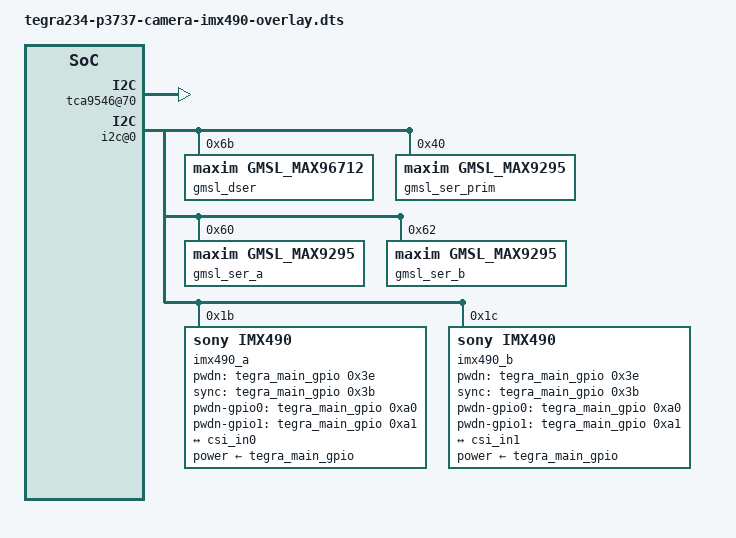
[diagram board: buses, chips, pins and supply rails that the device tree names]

/dts-v1/;
/plugin/;

/ {
	overlay-name = "Sensing Camera IMX490";
	jetson-header-name = "Jetson AGX CSI Connector";
	compatible = "nvidia,p3737-0000+p3701-0000", "nvidia,p3737-0000+p3701-0004", "nvidia,p3737-0000+p3701-0005";

	/* Enable VI ports */
	fragment@0 {
		target-path = "/tegra-capture-vi";
		__overlay__ {
			num-channels=<2>;
		};
	};
	fragment@1 {
		target-path = "/tegra-capture-vi/ports/port@0";
		__overlay__ {
			status = "okay";
		};
	};
	fragment@2 {
		target-path = "/tegra-capture-vi/ports/port@1";
		__overlay__ {
			status = "okay";
		};
	};
	fragment@3 {
		target-path = "/tegra-capture-vi/ports/port@0/endpoint";
		__overlay__ {
			status = "okay";
			vc-id = <0>;
			port-index = <0>;
			bus-width = <4>;
		};
	};
	fragment@4 {
		target-path = "/tegra-capture-vi/ports/port@1/endpoint";
		__overlay__ {
			status = "okay";
			vc-id = <1>;
			port-index = <0>;
			bus-width = <4>;
		};
	};

	/* Enable CSI ports */
	fragment@5 {
		target-path = "/host1x@13e00000/nvcsi@15a00000/channel@0";
		__overlay__ {
			status = "okay";
		};
	};
	fragment@6 {
		target-path = "/host1x@13e00000/nvcsi@15a00000/channel@0/ports/port@0";
		__overlay__ {
			status = "okay";
		};
	};
	fragment@7 {
		target-path = "/host1x@13e00000/nvcsi@15a00000/channel@0/ports/port@0/endpoint@0";
		__overlay__ {
			status = "okay";
			port-index = <0>;
			bus-width = <4>;
			remote-endpoint = <&imx490_out0>;
		};
	};
	fragment@8 {
		target-path = "/host1x@13e00000/nvcsi@15a00000/channel@0/ports/port@1";
		__overlay__ {
			status = "okay";
		};
	};
	fragment@9 {
		target-path = "/host1x@13e00000/nvcsi@15a00000/channel@0/ports/port@1/endpoint@1";
		__overlay__ {
			status = "okay";
			remote-endpoint = <&vi_in0>;
		};
	};
	fragment@10 {
		target-path = "/host1x@13e00000/nvcsi@15a00000/channel@1";
		__overlay__ {
			status = "okay";
		};
	};
	fragment@11 {
		target-path = "/host1x@13e00000/nvcsi@15a00000/channel@1/ports/port@0";
		__overlay__ {
			status = "okay";
		};
	};
	fragment@12 {
		target-path = "/host1x@13e00000/nvcsi@15a00000/channel@1/ports/port@0/endpoint@2";
		__overlay__ {
			status = "okay";
			port-index = <0>;
			bus-width = <4>;
			remote-endpoint = <&imx490_out1>;
		};
	};
	fragment@13 {
		target-path = "/host1x@13e00000/nvcsi@15a00000/channel@1/ports/port@1";
		__overlay__ {
			status = "okay";
		};
	};
	fragment@14 {
		target-path = "/host1x@13e00000/nvcsi@15a00000/channel@1/ports/port@1/endpoint@3";
		__overlay__ {
			status = "okay";
			remote-endpoint = <&vi_in1>;
		};
	};

	/* tegra-camera-platform settings */
	fragment@15 {
		target-path = "/tegra-camera-platform";
		__overlay__ {
			num_csi_lanes = <4>;
			max_lane_speed = <4000000>;
		};
	};
	fragment@16 {
		target-path = "/tegra-camera-platform/modules/module0";
		__overlay__ {
			status = "okay";
			badge = "imx490_rear";
			position = "rear";
			orientation = "1";
		};
	};
	fragment@17 {
		target-path = "/tegra-camera-platform/modules/module0/drivernode0";
		__overlay__ {
			status = "okay";
			pcl_id = "v4l2_sensor";
			devname = "imx490 30-001b";
			proc-device-tree = "/proc/device-tree/i2c@3180000/tca9546@70/i2c@0/imx490_a@1b";
		};
	};
	fragment@18 {
		target-path = "/tegra-camera-platform/modules/module1";
		__overlay__ {
			status = "okay";
			badge = "imx490_front";
			position = "front";
			orientation = "1";
		};
	};
	fragment@19 {
		target-path = "/tegra-camera-platform/modules/module1/drivernode0";
		__overlay__ {
			status = "okay";
			pcl_id = "v4l2_sensor";
			devname = "imx490 30-001c";
			proc-device-tree = "/proc/device-tree/i2c@3180000/tca9546@70/i2c@0/imx490_b@1c";
		};
	};

	/* pca9546 i2c mux */
	fragment@20 {
		target-path = "/i2c@3180000/tca9546@70";
		__overlay__ {
			status = "okay";
			vcc-pullup-supply = <0x2e>;
		};
	};

	fragment@21 {
		target-path = "/i2c@3180000/tca9546@70/i2c@0";
		__overlay__ {
			reg = <0>;
			i2c-mux,deselect-on-exit;
			#address-cells = <1>;
			#size-cells = <0>;

			gmsl_dser: gmsl_max96712@6b {
				compatible = "maxim,gmsl_max96712";
				status = "okay";
				reg = <0x6b>;
				csi-mode = "2x4";
				max-src = <4>;
			};
			gmsl_ser_prim: gmsl_max9295_prim@40 {
				compatible = "maxim,gmsl_max9295";
				status = "okay";
				reg = <0x40>;
				is-prim-ser;
			};
			gmsl_ser_a: gmsl_max9295_a@60 {
				compatible = "maxim,gmsl_max9295";
				status = "okay";
				reg = <0x60>;
				nvidia,gmsl-dser-device = <&gmsl_dser>;
			};
			gmsl_ser_b: gmsl_max9295_b@62 {
				compatible = "maxim,gmsl_max9295";
				status = "okay";
				reg = <0x62>;
				nvidia,gmsl-dser-device = <&gmsl_dser>;
			};

			imx490_a@1b {
				status = "okay";
				def-addr = <0x1a>;
				devnode = "video0";
				/* Define any required hw resources needed by driver */
				/* ie. clocks, io pins, power sources */
				clocks = <&bpmp 36U>,
						<&bpmp 36U>;
				clock-names = "extperiph1", "pllp_grtba";
				mclk = "extperiph1";
				nvidia,gmsl-ser-device = <&gmsl_ser_a>;
				nvidia,gmsl-dser-device = <&gmsl_dser>;
				power-supply = <&tegra_main_gpio 0xa7 0x00>; /* AC.07 */
				pwdn-gpio = <&tegra_main_gpio 0x3e 0x00>; /* PH.06 */
				sync-gpio = <&tegra_main_gpio 0x3b 0x00>; /* PH.03 */
				pwdn-gpio0 = <&tegra_main_gpio 0xa0 0x00>; /* AC.00 */
				pwdn-gpio1 = <&tegra_main_gpio 0xa1 0x00>; /* AC.01 */

				compatible = "sony,imx490";

				reg = <0x1b>;

				/* Physical dimensions of sensor */
				physical_w = "15.0";
				physical_h = "12.5";
				sensor_model = "imx490";

				/* Defines number of frames to be dropped by driver internally after applying */
				/* sensor crop settings. Some sensors send corrupt frames after applying */
				/* crop co-ordinates */
				post_crop_frame_drop = "0";

				/* Convert Gain to unit of dB (decibel) befor passing to kernel driver */
				use_decibel_gain = "true";

				/* enable CID_SENSOR_MODE_ID for sensor modes selection */
				use_sensor_mode_id = "true";

				mode0 {
					mclk_khz = "24000";
					num_lanes = "4";
					tegra_sinterface = "serial_a";
					vc_id = "0";
					discontinuous_clk = "no";
					dpcm_enable = "false";
					cil_settletime = "0";
					dynamic_pixel_bit_depth = "16";
					csi_pixel_bit_depth = "16";
					mode_type = "yuv";
					pixel_phase = "uyvy";

					active_w = "2880";
					active_h = "1860";
					readout_orientation = "0";
					line_length = "2250";
					inherent_gain = "1";
					pix_clk_hz = "300000000";
					serdes_pix_clk_hz = "375000000";

					gain_factor = "10";
					min_gain_val = "0"; /* dB */
					max_gain_val = "300"; /* dB */
					step_gain_val = "3"; /* 0.3 */
					default_gain = "0";
					min_hdr_ratio = "1";
					max_hdr_ratio = "1";
					framerate_factor = "1000000";
					min_framerate = "30000000";
					max_framerate = "30000000";
					step_framerate = "1";
					default_framerate = "30000000";
					exposure_factor = "1000000";
					min_exp_time = "59"; /*us, 2 lines*/
					max_exp_time = "33333";
					step_exp_time = "1";
					default_exp_time = "33333";/* us */
					embedded_metadata_height = "0";
				};
				ports {
					#address-cells = <1>;
					#size-cells = <0>;
					port@0 {
						reg = <0>;
						imx490_out0: endpoint {
							vc-id = <0>;
							port-index = <0>;
							bus-width = <4>;
							remote-endpoint = <&csi_in0>;
						};
					};
				};
				gmsl-link {
					src-csi-port = "b";
					dst-csi-port = "a";
					serdes-csi-link = "a";
					csi-mode = "1x4";
					st-vc = <0>;
					vc-id = <0>;
					num-lanes = <4>;
					streams = "ued-u1", "yuv8";
				};
			};

			imx490_b@1c {
				status = "okay";
				def-addr = <0x1a>;
				devnode = "video1";
				/* Define any required hw resources needed by driver */
				/* ie. clocks, io pins, power sources */
				clocks = <&bpmp 36U>,
						<&bpmp 36U>;
				clock-names = "extperiph1", "pllp_grtba";
				mclk = "extperiph1";
				nvidia,gmsl-ser-device = <&gmsl_ser_b>;
				nvidia,gmsl-dser-device = <&gmsl_dser>;
				power-supply = <&tegra_main_gpio 0xa7 0x00>; /* AC.07 */
				pwdn-gpio = <&tegra_main_gpio 0x3e 0x00>; /* PH.06 */
				sync-gpio = <&tegra_main_gpio 0x3b 0x00>; /* PH.03 */
				pwdn-gpio0 = <&tegra_main_gpio 0xa0 0x00>; /* AC.00 */
				pwdn-gpio1 = <&tegra_main_gpio 0xa1 0x00>; /* AC.01 */

				compatible = "sony,imx490";

				reg = <0x1c>;

				/* Physical dimensions of sensor */
				physical_w = "15.0";
				physical_h = "12.5";
				sensor_model = "imx490";

				/* Defines number of frames to be dropped by driver internally after applying */
				/* sensor crop settings. Some sensors send corrupt frames after applying */
				/* crop co-ordinates */
				post_crop_frame_drop = "0";

				/* Convert Gain to unit of dB (decibel) befor passing to kernel driver */
				use_decibel_gain = "true";

				/* enable CID_SENSOR_MODE_ID for sensor modes selection */
				use_sensor_mode_id = "true";

				mode0 {
					mclk_khz = "24000";
					num_lanes = "4";
					tegra_sinterface = "serial_b";
					vc_id = "1";
					discontinuous_clk = "no";
					dpcm_enable = "false";
					cil_settletime = "0";
					dynamic_pixel_bit_depth = "16";
					csi_pixel_bit_depth = "16";
					mode_type = "yuv";
					pixel_phase = "uyvy";

					active_w = "2880";
					active_h = "1860";
					readout_orientation = "0";
					line_length = "2250";
					inherent_gain = "1";
					pix_clk_hz = "300000000";
					serdes_pix_clk_hz = "375000000";

					gain_factor = "10";
					min_gain_val = "0"; /* dB */
					max_gain_val = "300"; /* dB */
					step_gain_val = "3"; /* 0.3 */
					default_gain = "0";
					min_hdr_ratio = "1";
					max_hdr_ratio = "1";
					framerate_factor = "1000000";
					min_framerate = "30000000";
					max_framerate = "30000000";
					step_framerate = "1";
					default_framerate = "30000000";
					exposure_factor = "1000000";
					min_exp_time = "59"; /*us, 2 lines*/
					max_exp_time = "33333";
					step_exp_time = "1";
					default_exp_time = "33333";/* us */
					embedded_metadata_height = "0";
				};
				ports {
					#address-cells = <1>;
					#size-cells = <0>;
					port@0 {
						reg = <0>;
						imx490_out1: endpoint {
							vc-id = <1>;
							port-index = <0>;
							bus-width = <4>;
							remote-endpoint = <&csi_in1>;
						};
					};
				};
				gmsl-link {
					src-csi-port = "b";
					dst-csi-port = "a";
					serdes-csi-link = "b";
					csi-mode = "1x4";
					st-vc = <0>;
					vc-id = <1>;
					num-lanes = <4>;
					streams = "ued-u1", "yuv8";
				};
			};
		};
	};
};
